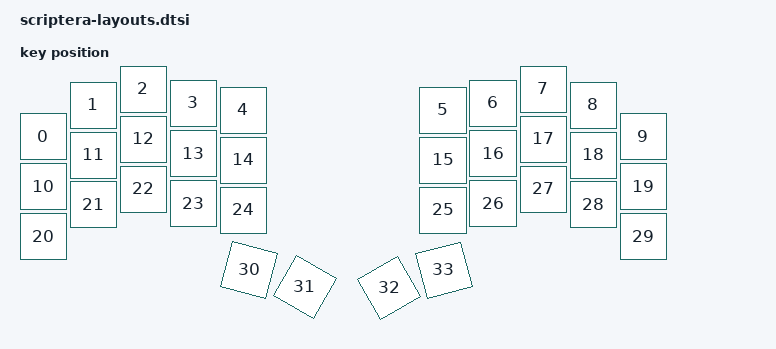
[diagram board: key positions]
#include <physical_layouts.dtsi>

/ {
    default_layout: default_layout {
        compatible = "zmk,physical-layout";
        display-name = "Scriptera Default";

        kscan = <&kscan0>;
        transform = <&default_transform>;

        keys  //                     w   h    x    y     rot    rx    ry
            = <&key_physical_attrs 100 100    0   95       0     0     0>
            , <&key_physical_attrs 100 100  100   32       0     0     0>
            , <&key_physical_attrs 100 100  200    0       0     0     0>
            , <&key_physical_attrs 100 100  300   28       0     0     0>
            , <&key_physical_attrs 100 100  400   42       0     0     0>
            , <&key_physical_attrs 100 100  800   42       0     0     0>
            , <&key_physical_attrs 100 100  900   28       0     0     0>
            , <&key_physical_attrs 100 100 1000    0       0     0     0>
            , <&key_physical_attrs 100 100 1100   32       0     0     0>
            , <&key_physical_attrs 100 100 1200   95       0     0     0>
            , <&key_physical_attrs 100 100    0  195       0     0     0>
            , <&key_physical_attrs 100 100  100  132       0     0     0>
            , <&key_physical_attrs 100 100  200  100       0     0     0>
            , <&key_physical_attrs 100 100  300  129       0     0     0>
            , <&key_physical_attrs 100 100  400  142       0     0     0>
            , <&key_physical_attrs 100 100  800  142       0     0     0>
            , <&key_physical_attrs 100 100  900  129       0     0     0>
            , <&key_physical_attrs 100 100 1000  100       0     0     0>
            , <&key_physical_attrs 100 100 1100  132       0     0     0>
            , <&key_physical_attrs 100 100 1200  195       0     0     0>
            , <&key_physical_attrs 100 100    0  295       0     0     0>
            , <&key_physical_attrs 100 100  100  231       0     0     0>
            , <&key_physical_attrs 100 100  200  200       0     0     0>
            , <&key_physical_attrs 100 100  300  229       0     0     0>
            , <&key_physical_attrs 100 100  400  242       0     0     0>
            , <&key_physical_attrs 100 100  800  242       0     0     0>
            , <&key_physical_attrs 100 100  900  229       0     0     0>
            , <&key_physical_attrs 100 100 1000  200       0     0     0>
            , <&key_physical_attrs 100 100 1100  231       0     0     0>
            , <&key_physical_attrs 100 100 1200  295       0     0     0>
            , <&key_physical_attrs 100 100  400  355    1500   430   455>
            , <&key_physical_attrs 100 100  500  325    3000   430   455>
            , <&key_physical_attrs 100 100  700  385 (-3000)   770   455>
            , <&key_physical_attrs 100 100  810  385 (-1500)   770   455>
            ;
    };
};
